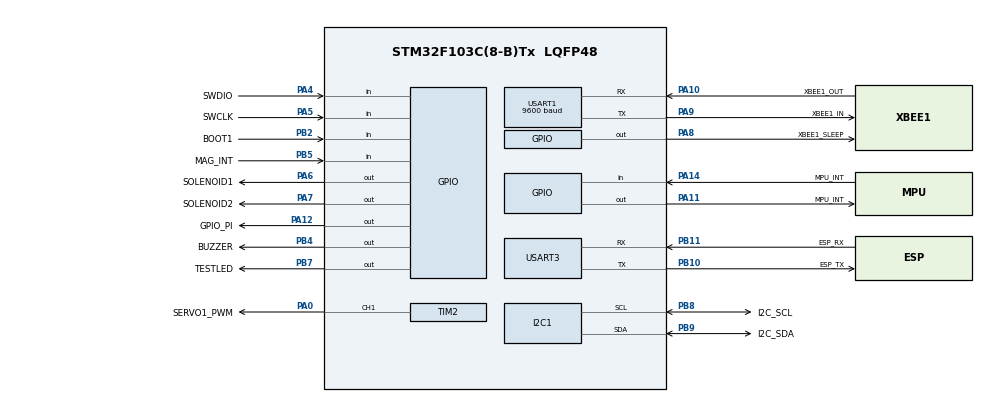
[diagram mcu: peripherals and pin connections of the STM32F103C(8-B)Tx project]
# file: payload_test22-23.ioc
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I2C1.I2C_Mode=I2C_Fast
Mcu.Family=STM32F1
Mcu.Name=STM32F103C(8-B)Tx
Mcu.Package=LQFP48
NVIC.PriorityGroup=NVIC_PRIORITYGROUP_4
PA0-WKUP.GPIO_Label=SERVO1_PWM
PA0-WKUP.Signal=S_TIM2_CH1_ETR
PA10.GPIO_Label=XBEE1_OUT
PA10.Mode=Multiprocessor_communication
PA10.Signal=USART1_RX
PA11.GPIO_Label=MPU_INT
PA11.Signal=GPIO_Output
PA12.GPIO_Label=GPIO_PI
PA12.Signal=GPIO_Output
PA14.GPIO_Label=MPU_INT
PA14.Signal=GPIO_Input
PA2.Signal=USART2_TX
PA3.Signal=USART2_RX
PA4.GPIO_Label=SWDIO
PA4.Signal=GPIO_Input
PA5.GPIO_Label=SWCLK
PA5.Signal=GPIO_Input
PA6.GPIO_Label=SOLENOID1
PA6.Signal=GPIO_Output
PA7.GPIO_Label=SOLENOID2
PA7.Signal=GPIO_Output
PA8.GPIO_Label=XBEE1_SLEEP
PA8.Signal=GPIO_Output
PA9.GPIO_Label=XBEE1_IN
PA9.Mode=Multiprocessor_communication
PA9.Signal=USART1_TX
PB10.GPIO_Label=ESP_TX
PB10.Mode=Asynchronous
PB10.Signal=USART3_TX
PB11.GPIO_Label=ESP_RX
PB11.Mode=Asynchronous
PB11.Signal=USART3_RX
PB12.Signal=SPI2_NSS
PB13.Signal=SPI2_SCK
PB14.Signal=SPI2_MISO
PB15.Signal=SPI2_MOSI
PB2.GPIO_Label=BOOT1
PB2.Signal=GPIO_Input
PB4.GPIO_Label=BUZZER
PB4.Signal=GPIO_Output
PB5.GPIO_Label=MAG_INT
PB5.Signal=GPIO_Input
PB7.GPIO_Label=TESTLED
PB7.Signal=GPIO_Output
PB8.GPIO_Label=I2C_SCL
PB8.Mode=I2C
PB8.Signal=I2C1_SCL
PB9.GPIO_Label=I2C_SDA
PB9.Mode=I2C
PB9.Signal=I2C1_SDA
PD0-OSC_IN.Mode=HSE-External-Oscillator
PD0-OSC_IN.Signal=RCC_OSC_IN
PD1-OSC_OUT.Mode=HSE-External-Oscillator
PD1-OSC_OUT.Signal=RCC_OSC_OUT
ProjectManager.HeapSize=0x200
ProjectManager.StackSize=0x400
ProjectManager.TargetToolchain=STM32CubeIDE
RCC.APB1Freq_Value=8000000
RCC.APB2Freq_Value=8000000
SH.S_TIM2_CH1_ETR.0=TIM2_CH1,PWM Generation1 CH1
TIM2.AutoReloadPreload=TIM_AUTORELOAD_PRELOAD_DISABLE
TIM2.Channel-PWM\ Generation1\ CH1=TIM_CHANNEL_1
TIM2.Period=300
TIM2.Prescaler=3
TIM2.TIM_MasterOutputTrigger=TIM_TRGO_RESET
USART1.BaudRate=9600
USART1.VirtualMode=VM_ASYNC
USART1.WakeUpMethode=UART_WAKEUPMETHOD_IDLELINE
USART3.VirtualMode=VM_ASYNC
VP_TIM2_VS_ClockSourceINT.Mode=Internal
board=custom

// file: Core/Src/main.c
/* USER CODE BEGIN Header */
/**
  ******************************************************************************
  * @file           : main.c
  * @brief          : Main program body
  ******************************************************************************
  * @attention
  *
  * Copyright (c) 2023 STMicroelectronics.
  * All rights reserved.
  *
  * This software is licensed under terms that can be found in the LICENSE file
  * in the root directory of this software component.
  * If no LICENSE file comes with this software, it is provided AS-IS.
  *
  ******************************************************************************
  */
/* USER CODE END Header */
#include "main.h"

/* USER CODE BEGIN Includes */
#include "bme280.h" // Pressure sensor
#include "mpu6050.h" // Gyro
/* USER CODE END Includes */

/* USER CODE BEGIN PD */
#define TEAM_ID 1037

// Pressure Sensor
#define BME280_I2C_ADDR_PRIM                      UINT8_C(0x76)
#define BME280_I2C_ADDR_SEC                       UINT8_C(0x77)

//GPS
//#define PA1010D_I2C_ADDR_PRIM                      UINT8_C(0x76)
//#define PA1010D_I2C_ADDR_SEC                       UINT8_C(0x77)

//Temperature Sensor
#define TMP117_I2C_ADDR_PRIM                      UINT8_C(0x76)
#define TMP117_I2C_ADDR_SEC                       UINT8_C(0x77)

#define TEMP_AT_SEA_LEVEL 293
#define TEMP_LAPSE_RATE -0.0065
#define PRESS_AT_SEA_LEVEL 101325 //(Pa)
/* USER CODE END PD */

I2C_HandleTypeDef hi2c1;

TIM_HandleTypeDef htim2;

UART_HandleTypeDef huart1;
UART_HandleTypeDef huart3;

/* USER CODE BEGIN PV */
volatile struct bme280_dev bme280_d;
volatile struct bme280_data comp_data;
/* USER CODE END PV */

void SystemClock_Config(void);
static void MX_GPIO_Init(void);
static void MX_TIM2_Init(void);
static void MX_I2C1_Init(void);
static void MX_USART1_UART_Init(void);
static void MX_USART3_UART_Init(void);

/* USER CODE BEGIN 0 */
//pressure sensor read
int8_t bme280_read(uint8_t reg_addr, uint8_t *data_regp, uint32_t len, void *intf_ptr)
{
    int8_t rslt = 0; /* Return 0 for Success, non-zero for failure */
    uint8_t buf[64];
    HAL_StatusTypeDef ret;
    ret = HAL_I2C_Master_Transmit(&hi2c1, (uint16_t)(BME280_I2C_ADDR_PRIM << 1), data_regp, I2C_MEMADD_SIZE_8BIT, HAL_MAX_DELAY);
    HAL_Delay(20);
    ret = HAL_I2C_Master_Receive(&hi2c1, (uint16_t)(BME280_I2C_ADDR_PRIM << 1), data_regp, len, HAL_MAX_DELAY);
    if (ret != HAL_OK)
    {
    	strcpy((char*)buf, "BME Read Error \r\n");
    	rslt = 1;
    }
    else
    {
    	strcpy((char*)buf, "BME Read Transmitted \r\n");
    }
    return rslt;
}

//pressure sensor write
int8_t bme280_write(uint8_t reg_addr, uint8_t *data_regp, uint32_t len, void *intf_ptr)
{
    int8_t rslt = 0; /* Return 0 for Success, non-zero for failure */
    uint8_t buf[64];
    HAL_StatusTypeDef ret;
    //reg_data[0] = reg_addr;
	ret = HAL_I2C_Master_Transmit(&hi2c1, BME280_I2C_ADDR_PRIM << 1, data_regp, 1, HAL_MAX_DELAY);
	if (ret != HAL_OK)
	{
		strcpy((char*)buf, "BME Write Error Tx\r\n");
		rslt = 1;
	}
	else
	{
		strcpy((char*)buf, "BME Write Transmitted \r\n");
	}

	ret = HAL_I2C_Mem_Write(&hi2c1, BME280_I2C_ADDR_PRIM << 1, reg_addr, I2C_MEMADD_SIZE_8BIT, data_regp, len, HAL_MAX_DELAY);
	if (ret != HAL_OK)
	{
		strcpy((char*)buf, "BME Write Error Mem Write\r\n");
		rslt = 1;
	}
	else
	{
		strcpy((char*)buf, "BME Written Mem Write \r\n");
	}
    return rslt;
}

//calculate altitude from pressure
double calculate_altitude(struct bme280_data * bd)
{
	double t_over_l = (double)TEMP_AT_SEA_LEVEL/TEMP_LAPSE_RATE;
	double p_over_pb = (double)(bd->pressure)/(double)PRESS_AT_SEA_LEVEL;
	double exp_term = (double)0.19026; //calculated prior
	double altitude = pow(p_over_pb, exp_term);
	altitude = t_over_l * (altitude - 1);
	return altitude; //meters
}

//FIXME read all sensors
void readSensors(void)
{
	float holder;
	//
	//	Temperature and Altitude
	//
	printf("BME280\n");
	bme280_get_sensor_data(BME280_ALL, &comp_data, &bme280_d);
	printf("temp: %f\n", comp_data.temperature/100.0);
	printf("calc. alt: %f\n", calculate_altitude(&comp_data));
	holder = calculate_altitude(&comp_data);

	//
	//	Voltage
	//
	//readVoltage(md);

	//
	//	Accel/Gyro
	//
	printf("MPU6050\n");
	float accX, accY, accZ = 0.0;
	MPU6050_Read_Accel(&accX, &accY, &accZ);
	printf("%f, %f, %f\n", accX, accY, accZ);
}

/* USER CODE END 0 */

int main(void)
{

  /* MCU Configuration--------------------------------------------------------*/

  /* Reset of all peripherals, Initializes the Flash interface and the Systick. */
  HAL_Init();

  /* Configure the system clock */
  SystemClock_Config();

  /* Initialize all configured peripherals */
  MX_GPIO_Init();
  MX_TIM2_Init();
  MX_I2C1_Init();
  MX_USART1_UART_Init();
  MX_USART3_UART_Init();
  /* USER CODE BEGIN 2 */
	GPIO_InitTypeDef GPIO_InitStruct = {0};
	GPIO_InitStruct.Pin = I2C_SDA_Pin | I2C_SCL_Pin;
	GPIO_InitStruct.Mode = GPIO_MODE_AF_OD;
	GPIO_InitStruct.Pull = GPIO_NOPULL;
	GPIO_InitStruct.Speed = GPIO_SPEED_FREQ_HIGH;
	HAL_GPIO_Init(GPIOB, &GPIO_InitStruct);

	//Pressure sensor setup
  	uint8_t bme280_addr = BME280_I2C_ADDR_PRIM;
	bme280_d.intf_ptr = &bme280_addr;
	bme280_d.intf = BME280_I2C_INTF;
	bme280_d.read = bme280_read;

	uint8_t check,data;
	data = 0xB6;
	HAL_I2C_Mem_Write(&hi2c1, BME280_I2C_ADDR_PRIM << 1, BME280_RESET_ADDR, 1, &data, 1 , 1000);
	HAL_Delay(30);
	bme280_init(&bme280_d);

	//Gyro|Accel setup
	MPU6050_init();
  /* USER CODE END 2 */

  /* Infinite loop */
  /* USER CODE BEGIN WHILE */
  while (1)
  {
		readSensors();
		HAL_Delay(1000);
  }
    /* USER CODE END WHILE */

}

void SystemClock_Config(void)
{
  RCC_OscInitTypeDef RCC_OscInitStruct = {0};
  RCC_ClkInitTypeDef RCC_ClkInitStruct = {0};

  /** Initializes the RCC Oscillators according to the specified parameters
  * in the RCC_OscInitTypeDef structure.
  */
  RCC_OscInitStruct.OscillatorType = RCC_OSCILLATORTYPE_HSI;
  RCC_OscInitStruct.HSIState = RCC_HSI_ON;
  RCC_OscInitStruct.HSICalibrationValue = RCC_HSICALIBRATION_DEFAULT;
  RCC_OscInitStruct.PLL.PLLState = RCC_PLL_NONE;
  if (HAL_RCC_OscConfig(&RCC_OscInitStruct) != HAL_OK)
  {
    Error_Handler();
  }

  /** Initializes the CPU, AHB and APB buses clocks
  */
  RCC_ClkInitStruct.ClockType = RCC_CLOCKTYPE_HCLK|RCC_CLOCKTYPE_SYSCLK
                              |RCC_CLOCKTYPE_PCLK1|RCC_CLOCKTYPE_PCLK2;
  RCC_ClkInitStruct.SYSCLKSource = RCC_SYSCLKSOURCE_HSI;
  RCC_ClkInitStruct.AHBCLKDivider = RCC_SYSCLK_DIV1;
  RCC_ClkInitStruct.APB1CLKDivider = RCC_HCLK_DIV1;
  RCC_ClkInitStruct.APB2CLKDivider = RCC_HCLK_DIV1;

  if (HAL_RCC_ClockConfig(&RCC_ClkInitStruct, FLASH_LATENCY_0) != HAL_OK)
  {
    Error_Handler();
  }
}

static void MX_I2C1_Init(void)
{

  hi2c1.Instance = I2C1;
  hi2c1.Init.ClockSpeed = 400000;
  hi2c1.Init.DutyCycle = I2C_DUTYCYCLE_2;
  hi2c1.Init.OwnAddress1 = 0;
  hi2c1.Init.AddressingMode = I2C_ADDRESSINGMODE_7BIT;
  hi2c1.Init.DualAddressMode = I2C_DUALADDRESS_DISABLE;
  hi2c1.Init.OwnAddress2 = 0;
  hi2c1.Init.GeneralCallMode = I2C_GENERALCALL_DISABLE;
  hi2c1.Init.NoStretchMode = I2C_NOSTRETCH_DISABLE;
  if (HAL_I2C_Init(&hi2c1) != HAL_OK)
  {
    Error_Handler();
  }

}

static void MX_TIM2_Init(void)
{

  TIM_ClockConfigTypeDef sClockSourceConfig = {0};
  TIM_MasterConfigTypeDef sMasterConfig = {0};
  TIM_OC_InitTypeDef sConfigOC = {0};

  htim2.Instance = TIM2;
  htim2.Init.Prescaler = 3;
  htim2.Init.CounterMode = TIM_COUNTERMODE_UP;
  htim2.Init.Period = 300;
  htim2.Init.ClockDivision = TIM_CLOCKDIVISION_DIV1;
  htim2.Init.AutoReloadPreload = TIM_AUTORELOAD_PRELOAD_DISABLE;
  if (HAL_TIM_Base_Init(&htim2) != HAL_OK)
  {
    Error_Handler();
  }
  sClockSourceConfig.ClockSource = TIM_CLOCKSOURCE_INTERNAL;
  if (HAL_TIM_ConfigClockSource(&htim2, &sClockSourceConfig) != HAL_OK)
  {
    Error_Handler();
  }
  if (HAL_TIM_PWM_Init(&htim2) != HAL_OK)
  {
    Error_Handler();
  }
  sMasterConfig.MasterOutputTrigger = TIM_TRGO_RESET;
  sMasterConfig.MasterSlaveMode = TIM_MASTERSLAVEMODE_DISABLE;
  if (HAL_TIMEx_MasterConfigSynchronization(&htim2, &sMasterConfig) != HAL_OK)
  {
    Error_Handler();
  }
  sConfigOC.OCMode = TIM_OCMODE_PWM1;
  sConfigOC.Pulse = 0;
  sConfigOC.OCPolarity = TIM_OCPOLARITY_HIGH;
  sConfigOC.OCFastMode = TIM_OCFAST_DISABLE;
  if (HAL_TIM_PWM_ConfigChannel(&htim2, &sConfigOC, TIM_CHANNEL_1) != HAL_OK)
  {
    Error_Handler();
  }
  HAL_TIM_MspPostInit(&htim2);

}

static void MX_USART1_UART_Init(void)
{

  huart1.Instance = USART1;
  huart1.Init.BaudRate = 9600;
  huart1.Init.WordLength = UART_WORDLENGTH_8B;
  huart1.Init.StopBits = UART_STOPBITS_1;
  huart1.Init.Parity = UART_PARITY_NONE;
  huart1.Init.Mode = UART_MODE_TX_RX;
  huart1.Init.HwFlowCtl = UART_HWCONTROL_NONE;
  huart1.Init.OverSampling = UART_OVERSAMPLING_16;
  if (HAL_MultiProcessor_Init(&huart1, 0, UART_WAKEUPMETHOD_IDLELINE) != HAL_OK)
  {
    Error_Handler();
  }

}

static void MX_USART3_UART_Init(void)
{

  huart3.Instance = USART3;
  huart3.Init.BaudRate = 115200;
  huart3.Init.WordLength = UART_WORDLENGTH_8B;
  huart3.Init.StopBits = UART_STOPBITS_1;
  huart3.Init.Parity = UART_PARITY_NONE;
  huart3.Init.Mode = UART_MODE_TX_RX;
  huart3.Init.HwFlowCtl = UART_HWCONTROL_NONE;
  huart3.Init.OverSampling = UART_OVERSAMPLING_16;
  if (HAL_UART_Init(&huart3) != HAL_OK)
  {
    Error_Handler();
  }

}

static void MX_GPIO_Init(void)
{
  GPIO_InitTypeDef GPIO_InitStruct = {0};

  /* GPIO Ports Clock Enable */
  __HAL_RCC_GPIOD_CLK_ENABLE();
  __HAL_RCC_GPIOA_CLK_ENABLE();
  __HAL_RCC_GPIOB_CLK_ENABLE();

  /*Configure GPIO pin Output Level */
  HAL_GPIO_WritePin(GPIOA, SOLENOID1_Pin|SOLENOID2_Pin|XBEE1_SLEEP_Pin|MPU_INT_Pin
                          |GPIO_PI_Pin, GPIO_PIN_RESET);

  /*Configure GPIO pin Output Level */
  HAL_GPIO_WritePin(GPIOB, BUZZER_Pin|TESTLED_Pin, GPIO_PIN_RESET);

  /*Configure GPIO pin : PA2 */
  GPIO_InitStruct.Pin = GPIO_PIN_2;
  GPIO_InitStruct.Mode = GPIO_MODE_AF_PP;
  GPIO_InitStruct.Speed = GPIO_SPEED_FREQ_HIGH;
  HAL_GPIO_Init(GPIOA, &GPIO_InitStruct);

  /*Configure GPIO pin : PA3 */
  GPIO_InitStruct.Pin = GPIO_PIN_3;
  GPIO_InitStruct.Mode = GPIO_MODE_INPUT;
  GPIO_InitStruct.Pull = GPIO_NOPULL;
  HAL_GPIO_Init(GPIOA, &GPIO_InitStruct);

  /*Configure GPIO pins : SWDIO_Pin SWCLK_Pin MPU_INTA14_Pin */
  GPIO_InitStruct.Pin = SWDIO_Pin|SWCLK_Pin|MPU_INTA14_Pin;
  GPIO_InitStruct.Mode = GPIO_MODE_INPUT;
  GPIO_InitStruct.Pull = GPIO_NOPULL;
  HAL_GPIO_Init(GPIOA, &GPIO_InitStruct);

  /*Configure GPIO pins : SOLENOID1_Pin SOLENOID2_Pin XBEE1_SLEEP_Pin MPU_INT_Pin
                           GPIO_PI_Pin */
  GPIO_InitStruct.Pin = SOLENOID1_Pin|SOLENOID2_Pin|XBEE1_SLEEP_Pin|MPU_INT_Pin
                          |GPIO_PI_Pin;
  GPIO_InitStruct.Mode = GPIO_MODE_OUTPUT_PP;
  GPIO_InitStruct.Pull = GPIO_NOPULL;
  GPIO_InitStruct.Speed = GPIO_SPEED_FREQ_LOW;
  HAL_GPIO_Init(GPIOA, &GPIO_InitStruct);

  /*Configure GPIO pins : BOOT1_Pin MAG_INT_Pin */
  GPIO_InitStruct.Pin = BOOT1_Pin|MAG_INT_Pin;
  GPIO_InitStruct.Mode = GPIO_MODE_INPUT;
  GPIO_InitStruct.Pull = GPIO_NOPULL;
  HAL_GPIO_Init(GPIOB, &GPIO_InitStruct);

  /*Configure GPIO pins : PB12 PB13 PB14 PB15 */
  GPIO_InitStruct.Pin = GPIO_PIN_12|GPIO_PIN_13|GPIO_PIN_14|GPIO_PIN_15;
  GPIO_InitStruct.Mode = GPIO_MODE_AF_PP;
  GPIO_InitStruct.Speed = GPIO_SPEED_FREQ_HIGH;
  HAL_GPIO_Init(GPIOB, &GPIO_InitStruct);

  /*Configure GPIO pins : BUZZER_Pin TESTLED_Pin */
  GPIO_InitStruct.Pin = BUZZER_Pin|TESTLED_Pin;
  GPIO_InitStruct.Mode = GPIO_MODE_OUTPUT_PP;
  GPIO_InitStruct.Pull = GPIO_NOPULL;
  GPIO_InitStruct.Speed = GPIO_SPEED_FREQ_LOW;
  HAL_GPIO_Init(GPIOB, &GPIO_InitStruct);

}

void Error_Handler(void)
{
  __disable_irq();
  while (1)
  {
  }
}
